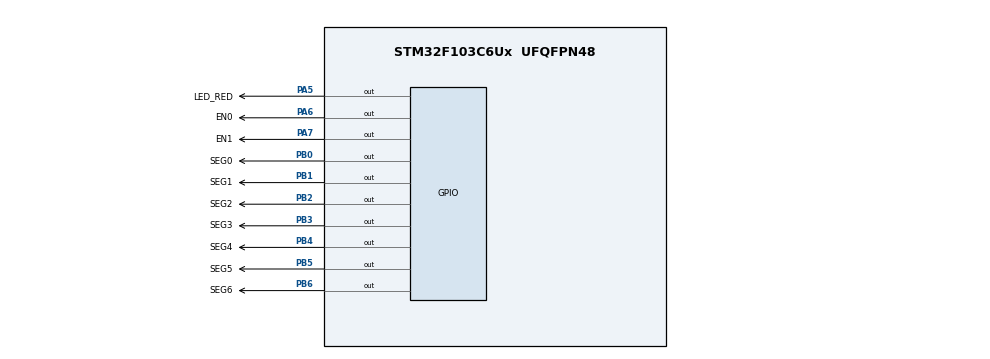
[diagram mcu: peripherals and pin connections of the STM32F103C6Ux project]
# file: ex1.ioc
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Mcu.Family=STM32F1
Mcu.Name=STM32F103C6Ux
Mcu.Package=UFQFPN48
NVIC.PriorityGroup=NVIC_PRIORITYGROUP_4
NVIC.TIM2_IRQn=true\:0\:0\:false\:false\:true\:true\:true
PA5.GPIO_Label=LED_RED
PA5.Signal=GPIO_Output
PA6.GPIO_Label=EN0
PA6.Signal=GPIO_Output
PA7.GPIO_Label=EN1
PA7.Signal=GPIO_Output
PB0.GPIO_Label=SEG0
PB0.Signal=GPIO_Output
PB1.GPIO_Label=SEG1
PB1.Signal=GPIO_Output
PB2.GPIO_Label=SEG2
PB2.Signal=GPIO_Output
PB3.GPIO_Label=SEG3
PB3.Signal=GPIO_Output
PB4.GPIO_Label=SEG4
PB4.Signal=GPIO_Output
PB5.GPIO_Label=SEG5
PB5.Signal=GPIO_Output
PB6.GPIO_Label=SEG6
PB6.Signal=GPIO_Output
ProjectManager.HeapSize=0x200
ProjectManager.StackSize=0x400
ProjectManager.TargetToolchain=STM32CubeIDE
RCC.APB1Freq_Value=8000000
RCC.APB2Freq_Value=8000000
TIM2.Period=9
TIM2.Prescaler=7999
VP_SYS_VS_ND.Mode=No_Debug
VP_TIM2_VS_ClockSourceINT.Mode=Internal
board=custom

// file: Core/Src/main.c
/* USER CODE BEGIN Header */
/**
  ******************************************************************************
  * @file           : main.c
  * @brief          : Main program body
  ******************************************************************************
  * @attention
  *
  * <h2><center>&copy; Copyright (c) 2026 STMicroelectronics.
  * All rights reserved.</center></h2>
  *
  * This software component is licensed by ST under BSD 3-Clause license,
  * the "License"; You may not use this file except in compliance with the
  * License. You may obtain a copy of the License at:
  *                        opensource.org/licenses/BSD-3-Clause
  *
  ******************************************************************************
  */
/* USER CODE END Header */
#include "main.h"

TIM_HandleTypeDef htim2;

/* USER CODE BEGIN PV */
int led_state= 0;
int timer_counter= 0;
int led_index= 0;
/* USER CODE END PV */

void SystemClock_Config(void);
static void MX_GPIO_Init(void);
static void MX_TIM2_Init(void);
/* USER CODE BEGIN PFP */
void display7SEG(int num);
void setTimer(int duration);
void timerRun(void);
/* USER CODE END PFP */

int main(void)
{

  /* MCU Configuration--------------------------------------------------------*/

  /* Reset of all peripherals, Initializes the Flash interface and the Systick. */
  HAL_Init();

  /* Configure the system clock */
  SystemClock_Config();

  /* Initialize all configured peripherals */
  MX_GPIO_Init();
  MX_TIM2_Init();
  /* USER CODE BEGIN 2 */
    HAL_TIM_Base_Start_IT(&htim2);

    HAL_GPIO_WritePin(GPIOA, EN0_Pin, GPIO_PIN_RESET);
    HAL_GPIO_WritePin(GPIOA, EN1_Pin, GPIO_PIN_SET);
    display7SEG(1);
  /* USER CODE END 2 */

  /* Infinite loop */
  while (1)
    {

}

void SystemClock_Config(void)
{
  RCC_OscInitTypeDef RCC_OscInitStruct = {0};
  RCC_ClkInitTypeDef RCC_ClkInitStruct = {0};

  /** Initializes the RCC Oscillators according to the specified parameters
  * in the RCC_OscInitTypeDef structure.
  */
  RCC_OscInitStruct.OscillatorType = RCC_OSCILLATORTYPE_HSI;
  RCC_OscInitStruct.HSIState = RCC_HSI_ON;
  RCC_OscInitStruct.HSICalibrationValue = RCC_HSICALIBRATION_DEFAULT;
  RCC_OscInitStruct.PLL.PLLState = RCC_PLL_NONE;
  if (HAL_RCC_OscConfig(&RCC_OscInitStruct) != HAL_OK)
  {
    Error_Handler();
  }
  /** Initializes the CPU, AHB and APB buses clocks
  */
  RCC_ClkInitStruct.ClockType = RCC_CLOCKTYPE_HCLK|RCC_CLOCKTYPE_SYSCLK
                              |RCC_CLOCKTYPE_PCLK1|RCC_CLOCKTYPE_PCLK2;
  RCC_ClkInitStruct.SYSCLKSource = RCC_SYSCLKSOURCE_HSI;
  RCC_ClkInitStruct.AHBCLKDivider = RCC_SYSCLK_DIV1;
  RCC_ClkInitStruct.APB1CLKDivider = RCC_HCLK_DIV1;
  RCC_ClkInitStruct.APB2CLKDivider = RCC_HCLK_DIV1;

  if (HAL_RCC_ClockConfig(&RCC_ClkInitStruct, FLASH_LATENCY_0) != HAL_OK)
  {
    Error_Handler();
  }
}

static void MX_TIM2_Init(void)
{

  TIM_ClockConfigTypeDef sClockSourceConfig = {0};
  TIM_MasterConfigTypeDef sMasterConfig = {0};

  htim2.Instance = TIM2;
  htim2.Init.Prescaler = 7999;
  htim2.Init.CounterMode = TIM_COUNTERMODE_UP;
  htim2.Init.Period = 9;
  htim2.Init.ClockDivision = TIM_CLOCKDIVISION_DIV1;
  htim2.Init.AutoReloadPreload = TIM_AUTORELOAD_PRELOAD_DISABLE;
  if (HAL_TIM_Base_Init(&htim2) != HAL_OK)
  {
    Error_Handler();
  }
  sClockSourceConfig.ClockSource = TIM_CLOCKSOURCE_INTERNAL;
  if (HAL_TIM_ConfigClockSource(&htim2, &sClockSourceConfig) != HAL_OK)
  {
    Error_Handler();
  }
  sMasterConfig.MasterOutputTrigger = TIM_TRGO_RESET;
  sMasterConfig.MasterSlaveMode = TIM_MASTERSLAVEMODE_DISABLE;
  if (HAL_TIMEx_MasterConfigSynchronization(&htim2, &sMasterConfig) != HAL_OK)
  {
    Error_Handler();
  }

}

static void MX_GPIO_Init(void)
{
  GPIO_InitTypeDef GPIO_InitStruct = {0};

  /* GPIO Ports Clock Enable */
  __HAL_RCC_GPIOA_CLK_ENABLE();
  __HAL_RCC_GPIOB_CLK_ENABLE();

  /*Configure GPIO pin Output Level */
  HAL_GPIO_WritePin(GPIOA, LED_RED_Pin|EN0_Pin|EN1_Pin, GPIO_PIN_RESET);

  /*Configure GPIO pin Output Level */
  HAL_GPIO_WritePin(GPIOB, SEG0_Pin|SEG1_Pin|SEG2_Pin|SEG3_Pin
                          |SEG4_Pin|SEG5_Pin|SEG6_Pin, GPIO_PIN_RESET);

  /*Configure GPIO pins : LED_RED_Pin EN0_Pin EN1_Pin */
  GPIO_InitStruct.Pin = LED_RED_Pin|EN0_Pin|EN1_Pin;
  GPIO_InitStruct.Mode = GPIO_MODE_OUTPUT_PP;
  GPIO_InitStruct.Pull = GPIO_NOPULL;
  GPIO_InitStruct.Speed = GPIO_SPEED_FREQ_LOW;
  HAL_GPIO_Init(GPIOA, &GPIO_InitStruct);

  /*Configure GPIO pins : SEG0_Pin SEG1_Pin SEG2_Pin SEG3_Pin
                           SEG4_Pin SEG5_Pin SEG6_Pin */
  GPIO_InitStruct.Pin = SEG0_Pin|SEG1_Pin|SEG2_Pin|SEG3_Pin
                          |SEG4_Pin|SEG5_Pin|SEG6_Pin;
  GPIO_InitStruct.Mode = GPIO_MODE_OUTPUT_PP;
  GPIO_InitStruct.Pull = GPIO_NOPULL;
  GPIO_InitStruct.Speed = GPIO_SPEED_FREQ_LOW;
  HAL_GPIO_Init(GPIOB, &GPIO_InitStruct);

}

/* USER CODE BEGIN 4 */
const uint8_t LED7_HEX[10] = {
    0x3F, 0x06, 0x5B, 0x4F, 0x66, 0x6D, 0x7D, 0x07, 0x7F, 0x6F
};

const uint16_t SEG_PINS[7] = {
    SEG0_Pin, SEG1_Pin, SEG2_Pin, SEG3_Pin, SEG4_Pin, SEG5_Pin, SEG6_Pin
};

void display7SEG(int num) {
    if (num<0 || num>9) return;
    uint8_t code= LED7_HEX[num];

    for (int i=0; i<7; i++) {
        GPIO_PinState state= (code& (1<<i)) ? GPIO_PIN_RESET : GPIO_PIN_SET;
        HAL_GPIO_WritePin(GPIOB, SEG_PINS[i], state);
    }
}

void HAL_TIM_PeriodElapsedCallback(TIM_HandleTypeDef *htim) {
    if (htim->Instance==TIM2) {
        timer_counter++;

        if (timer_counter>= 50) {
            timer_counter= 0;

            if (led_index== 0) {
                HAL_GPIO_WritePin(GPIOA, EN0_Pin, GPIO_PIN_SET);
                HAL_GPIO_WritePin(GPIOA, EN1_Pin, GPIO_PIN_RESET);
                display7SEG(2);
                led_index= 1;
            }
            else {
                HAL_GPIO_WritePin(GPIOA, EN0_Pin, GPIO_PIN_RESET);
                HAL_GPIO_WritePin(GPIOA, EN1_Pin, GPIO_PIN_SET);
                display7SEG(1);
                led_index= 0;
            }
        }
    }
}
/* USER CODE END 4 */

void Error_Handler(void)
{
  __disable_irq();
  while (1)
  {
  }
}

/************************ (C) COPYRIGHT STMicroelectronics *****END OF FILE****/
